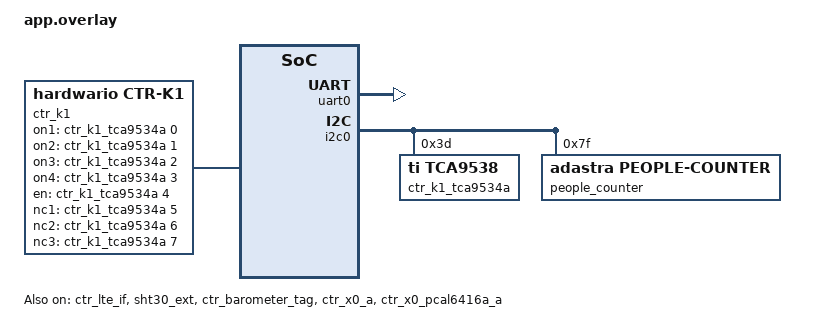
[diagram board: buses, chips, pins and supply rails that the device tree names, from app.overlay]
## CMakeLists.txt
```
#
# Copyright (c) aaaaaaaa
#
#  aaaa
#

cmake_minimum_required(VERSION 3.20.0)

set(ENV{FW_BUNDLE} "com.hardwario.chester.clime")
set(ENV{FW_VERSION} "v1.0.0")
set(ENV{FW_NAME} "CHESTER Current")

find_package(Zephyr REQUIRED HINTS $ENV{ZEPHYR_BASE})

project(chester-current)

target_sources(app PRIVATE src/app_shell.c)
target_sources(app PRIVATE src/app_config.c)
```

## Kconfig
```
#
# Copyright (c) aaaaaaaa
#
# aaaa
#

menu "Application"

# METEO Project #
# LTE #
config SHIELD_CTR_LTE
	bool "Enable SHIELD_CTR_LTE"
	default y 

config CTR_LTE
	default y
# K1 #
config SHIELD_CTR_K1
	bool "Enable SHIELD_CTR_K1"
	default y 

config CTR_K1
	default y
# S2 #
config SHIELD_CTR_S2
	bool "Enable SHIELD_CTR_S2"
	default y 

config CTR_HYGRO
	default y
# PEOPLE_COUNTER #
config SHIELD_PEOPLE_COUNTER
	bool "Enable SHIELD_PEOPLE_COUNTER"
	default y

config PEOPLE_COUNTER
	default y

config I2C
	default y
# BAROMETER_TAG #
config SHIELD_CTR_BAROMETER_TAG
	bool "Enable SHIELD_CTR_BAROMETER_TAG"
	default y 

config I2C
	default y

config SENSOR
	default y

config MPL3115A2
	default y
# METEO_A #
config SHIELD_CTR_A
	bool "Enable SHIELD_CTR_METEO_A"
	default y 

config CTR_METEO
	default y

config CTR_X0
	default y

endmenu

menu "Zephyr Kernel"
source "Kconfig.zephyr"
endmenu
```

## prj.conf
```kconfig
#
# Copyright (c) aaaaaaaa
#
#  aaaa
#

# Configurations #
CONFIG_ADC_SHELL=y
CONFIG_CTR_ACCEL=y
CONFIG_CTR_BATT=y
CONFIG_CTR_BUTTON=y
CONFIG_CTR_BLE=y
CONFIG_CTR_BUF=y
CONFIG_CTR_DEFAULTS=y
CONFIG_CTR_INFO=y
CONFIG_CTR_LED=y
CONFIG_CTR_LOG=y
CONFIG_CTR_RTC=y
CONFIG_CTR_THERM=y
CONFIG_CTR_WDOG=y
CONFIG_ENTROPY_GENERATOR=y
CONFIG_TINYCRYPT=y
CONFIG_TINYCRYPT_SHA256=y
CONFIG_ZCBOR=y
CONFIG_ZCBOR_STOP_ON_ERROR=y
CONFIG_CTR_LTE_CLKSYNC=y

# Extra configurations #
CONFIG_ADC_TLA2021_INIT_PRIORITY=60
CONFIG_ADC_NRFX_SAADC=n
CONFIG_ADC_SHELL=n
CONFIG_CTR_K1_LOG_LEVEL_DBG=y

# USER CODE BEGIN Config 
# USER CODE END Config 
```

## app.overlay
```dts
/*
 * Copyright (c) aaaaaaaa
 *
 * aaaa
 */

/* CHESTER CURRENT Project | METEO VARIANT*/

/* LTE  */
&ctr_lte_if {
	status = "okay";
};

&uart0 {
	status = "okay";
};
/* K1  */
/ {
	ctr_k1: ctr_k1 {
		compatible = "hardwario,ctr-k1";
		status = "okay";
		on1-gpios = <&ctr_k1_tca9534a 0 GPIO_ACTIVE_HIGH>;
		on2-gpios = <&ctr_k1_tca9534a 1 GPIO_ACTIVE_HIGH>;
		on3-gpios = <&ctr_k1_tca9534a 2 GPIO_ACTIVE_HIGH>;
		on4-gpios = <&ctr_k1_tca9534a 3 GPIO_ACTIVE_HIGH>;
		en-gpios = <&ctr_k1_tca9534a 4 GPIO_ACTIVE_HIGH>;
		nc1-gpios = <&ctr_k1_tca9534a 5 GPIO_ACTIVE_HIGH>;
		nc2-gpios = <&ctr_k1_tca9534a 6 GPIO_ACTIVE_HIGH>;
		nc3-gpios = <&ctr_k1_tca9534a 7 GPIO_ACTIVE_HIGH>;
	};
};

&i2c0 {
	ctr_k1_tca9534a: ctr_k1_tca9534a@3d {
		compatible = "ti,tca9538";
		status = "okay";
		reg = <0x3d>;
		#gpio-cells = <2>;
		gpio-controller;
		ngpios = <8>;
	};
};
/* S2  */
&sht30_ext {
	status = "okay";
};
/* PEOPLE_COUNTER  */
&i2c0 {
	people_counter: people_counter@7f {
		compatible = "adastra,people-counter";
		status = "okay";
		reg = <0x7f>;
	};
};
/* BAROMETER_TAG   */
&ctr_barometer_tag {
	status = "okay";
};
/* METEO_A  */
&ctr_x0_a {
	status = "okay";

	ctr_meteo_a: ctr_meteo_a {
		compatible = "hardwario,ctr-meteo";
		slot = "A";
		status = "okay";
	};
};

&ctr_x0_pcal6416a_a {
	status = "okay";
};
```

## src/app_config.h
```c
/*
 * Copyright (c) aaaaaaaa
 *
 * aaaa
 */

#ifndef APP_CONFIG_H_
#define APP_CONFIG_H_

/* Zephyr includes */
#include <zephyr/shell/shell.h>

/* Standard includes */
#include <stdbool.h>
#include <stddef.h>

/* USER CODE BEGIN Includes */
/* USER CODE END Includes */

#ifdef __cplusplus
extern "C" {
#endif

#define APP_CONFIG_CHANNEL_COUNT 4  
	
struct app_config {
	int channel_interval_sample;
	int channel_interval_aggreg;
	int interval_report;
	int w1_therm_interval_sample;
	int w1_therm_interval_aggreg;
	int event_report_delay;
	int event_report_rate;
	bool backup_report_connected;
	bool backup_report_disconnected;
	bool channel_active[4];
	bool channel_differential[4];
	int channel_calib_x0[4];
	int channel_calib_y0[4];
	int channel_calib_x1[4];
	int channel_calib_y1[4];

	/* USER CODE BEGIN Struct Variables */
	/* USER CODE END Struct Variables */
};

extern struct app_config g_app_config;

/* USER CODE BEGIN Variables */
/* USER CODE END Variables */

int app_config_cmd_config_show(const struct shell *shell, size_t argc, char **argv);
int app_config_cmd_config_channel_interval_sample(const struct shell *shell, size_t argc, char **argv);
int app_config_cmd_config_channel_interval_aggreg(const struct shell *shell, size_t argc, char **argv);
int app_config_cmd_config_interval_report(const struct shell *shell, size_t argc, char **argv);
int app_config_cmd_config_w1_therm_interval_sample(const struct shell *shell, size_t argc, char **argv);
int app_config_cmd_config_w1_therm_interval_aggreg(const struct shell *shell, size_t argc, char **argv);
int app_config_cmd_config_event_report_delay(const struct shell *shell, size_t argc, char **argv);
int app_config_cmd_config_event_report_rate(const struct shell *shell, size_t argc, char **argv);
int app_config_cmd_config_backup_report_connected(const struct shell *shell, size_t argc, char **argv);
int app_config_cmd_config_backup_report_disconnected(const struct shell *shell, size_t argc, char **argv);
int app_config_cmd_config_channel_active(const struct shell *shell, size_t argc, char **argv);
int app_config_cmd_config_channel_differential(const struct shell *shell, size_t argc, char **argv);
int app_config_cmd_config_channel_calib_x0(const struct shell *shell, size_t argc, char **argv);
int app_config_cmd_config_channel_calib_y0(const struct shell *shell, size_t argc, char **argv);
int app_config_cmd_config_channel_calib_x1(const struct shell *shell, size_t argc, char **argv);
int app_config_cmd_config_channel_calib_y1(const struct shell *shell, size_t argc, char **argv);

/* USER CODE BEGIN Functions 1 */
/* USER CODE END Functions 1 */

#ifdef __cplusplus
}
#endif

#endif /* APP_CONFIG_H_ */
```

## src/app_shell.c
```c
/*
 * Copyright (c) aaaaaaaa
 *
 * aaaa
 */

#include "app_config.h"
#include "app_work.h"

/* Zephyr includes */
#include <zephyr/kernel.h>
#include <zephyr/logging/log.h>
#include <zephyr/shell/shell.h>

/* Standard includes */
#include <errno.h>
#include <stdlib.h>

/* USER CODE BEGIN Includes */
/* USER CODE END Includes */

LOG_MODULE_REGISTER(app_shell, LOG_LEVEL_INF);

static int cmd_read(const struct shell *shell, size_t argc, char **argv)
{
	int ret;

	if (argc > 1) {
		shell_error(shell, "unknown parameter: %s", argv[1]);
		shell_help(shell);
		return -EINVAL;
	}

	shell_print(shell, "Barometer");
	ret = shell_execute_cmd(shell, "mpl3115a2 read");
	if (ret) {
		LOG_ERR("Call `shell_execute_cmd` failed: %d", ret);
	}

	shell_print(shell, "Meteo");
	ret = shell_execute_cmd(shell, "meteo read ctr_meteo_a");
	if (ret) {
		LOG_ERR("Call `shell_execute_cmd` failed: %d", ret);
	}

	shell_print(shell, "Meteo");
	ret = shell_execute_cmd(shell, "meteo read ctr_meteo_b");
	if (ret) {
		LOG_ERR("Call `shell_execute_cmd` failed: %d", ret);
	}

	shell_print(shell, "Humidity");
	ret = shell_execute_cmd(shell, "hygro read");
	if (ret) {
		LOG_ERR("Call `shell_execute_cmd` failed: %d", ret);
	}

	return 0;
}

static int cmd_sample(const struct shell *shell, size_t argc, char **argv)
{
	if (argc > 1) {
		shell_error(shell, "unknown parameter: %s", argv[1]);
		shell_help(shell);
		return -EINVAL;
	}

	app_work_sample();

	return 0;
}

static int cmd_send(const struct shell *shell, size_t argc, char **argv)
{
	if (argc > 1) {
		shell_error(shell, "unknown parameter: %s", argv[1]);
		shell_help(shell);
		return -EINVAL;
	}

	app_work_send();

	return 0;
}

static int cmd_aggreg(const struct shell *shell, size_t argc, char **argv)
{
	if (argc > 1) {
		shell_error(shell, "unknown parameter: %s", argv[1]);
		shell_help(shell);
		return -EINVAL;
	}

	app_work_aggreg();

	return 0;
}

static int print_help(const struct shell *shell, size_t argc, char **argv)
{
	if (argc > 1) {
		shell_error(shell, "command not found: %s", argv[1]);
		shell_help(shell);
		return -EINVAL;
	}

	shell_help(shell);
	return 0;
}

/* clang-format off */

SHELL_STATIC_SUBCMD_SET_CREATE(
	sub_app_config,
   
	SHELL_CMD_ARG(show, NULL,
				  "List current configuration.",
				  app_config_cmd_config_show, 1, 0),
	
	SHELL_CMD_ARG(channel-interval-sample, NULL,
				  "Get/Set channel sample interval in seconds (format: <1-86400>).",
				  app_config_cmd_config_channel_interval_sample, 1, 1),
	
	SHELL_CMD_ARG(channel-interval-aggreg, NULL,
				  "Get/Set channel aggregate interval in seconds (format: <1-86400>).",
				  app_config_cmd_config_channel_interval_aggreg, 1, 1),
	
	SHELL_CMD_ARG(interval-report, NULL,
				  "Get/Set report interval in seconds (format: <30-86400>).",
				  app_config_cmd_config_interval_report, 1, 1),
	
	SHELL_CMD_ARG(w1-therm-interval-sample, NULL,
				  "Get/Set report when hygro high temperature alarm is crossed (format: true, false).",
				  app_config_cmd_config_w1_therm_interval_sample, 1, 1),
	
	SHELL_CMD_ARG(w1-therm-interval-aggreg, NULL,
				  "Get/Set report when hygro low temperature alarm is crossed (format: true, false).",
				  app_config_cmd_config_w1_therm_interval_aggreg, 1, 1),
	
	SHELL_CMD_ARG(event-report-delay, NULL,
				  "Get/Set event report delay in seconds (format: <1-86400>).",
				  app_config_cmd_config_event_report_delay, 1, 1),
	
	SHELL_CMD_ARG(event-report-rate, NULL,
				  "Get/Set event report rate in reports per hour (format: <1-3600>).",
				  app_config_cmd_config_event_report_rate, 1, 1),
	
	SHELL_CMD_ARG(backup-report-connected, NULL,
				  "Get/Set report when backup is active (format: true, false).",
				  app_config_cmd_config_backup_report_connected, 1, 1),
	
	SHELL_CMD_ARG(backup-report-disconnected, NULL,
				  "Get/Set report when backup is inactive (format: true, false).",
				  app_config_cmd_config_backup_report_disconnected, 1, 1),
	
	SHELL_CMD_ARG(channel-active, NULL,
				"Get/Set channel activation (format: <channel> <true|false>).",
				app_config_cmd_config_channel_active, 2, 1),
	
	SHELL_CMD_ARG(channel-differential, NULL,
				"Get/Set channel differential mode (format: <channel> <true|false>).",
				app_config_cmd_config_channel_differential, 2, 1),
	
	SHELL_CMD_ARG(channel-calib-x0, NULL,
				"Get/Set channel X0 calibration point (format: <channel> <-2147483648..2147483647>).",
				app_config_cmd_config_channel_calib_x0, 2, 1),
	
	SHELL_CMD_ARG(channel-calib-y0, NULL,
				"Get/Set channel Y0 calibration point (format: <channel> <-2147483648..2147483647>).",
				app_config_cmd_config_channel_calib_y0, 2, 1),
	
	SHELL_CMD_ARG(channel-calib-x1, NULL,
				"Get/Set channel X1 calibration point (format: <channel> <-2147483648..2147483647>).",
				app_config_cmd_config_channel_calib_x1, 2, 1),
	
	SHELL_CMD_ARG(channel-calib-y1, NULL,
				"Get/Set channel Y1 calibration point (format: <channel> <-2147483648..2147483647>).",
				app_config_cmd_config_channel_calib_y1, 2, 1),
	
	/* USER CODE BEGIN Functions 1 */
	/* USER CODE END Functions 1 */

	SHELL_SUBCMD_SET_END
);

SHELL_STATIC_SUBCMD_SET_CREATE(
	sub_app,

	SHELL_CMD_ARG(config, &sub_app_config, "Configuration commands.",
				  print_help, 1, 0),
		
	SHELL_SUBCMD_SET_END

/* USER CODE BEGIN Functions 2 */
/* USER CODE END Functions 2 */
);

SHELL_CMD_REGISTER(app, &sub_app, "Application commands.", print_help);

SHELL_CMD_REGISTER(sample, NULL,"Sample immediately.", cmd_sample);
SHELL_CMD_REGISTER(send, NULL,"Send data immediately.", cmd_send);
SHELL_CMD_REGISTER(aggreg, NULL,"Aggregate data immediately", cmd_aggreg);

/* USER CODE BEGIN Functions 3 */
/* USER CODE END Functions 3 */

/* clang-format on */
```
